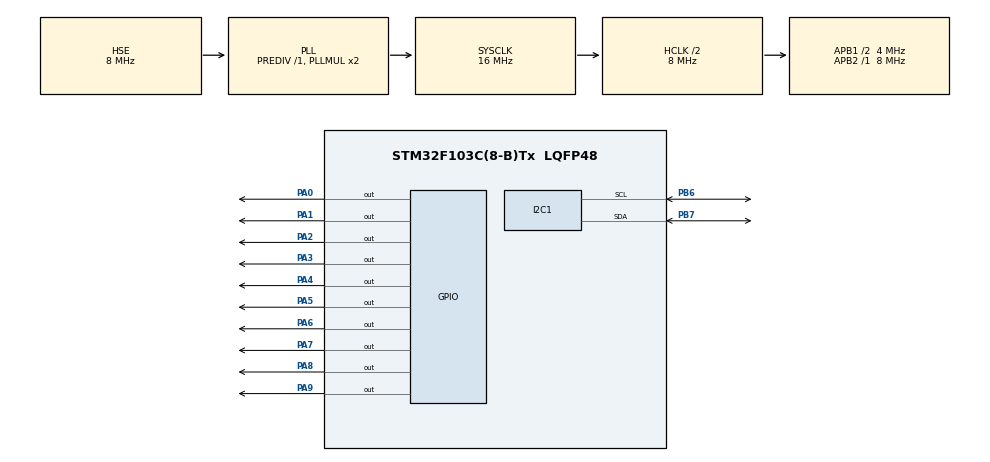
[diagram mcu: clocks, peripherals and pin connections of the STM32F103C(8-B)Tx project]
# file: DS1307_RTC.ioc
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Mcu.Family=STM32F1
Mcu.Name=STM32F103C(8-B)Tx
Mcu.Package=LQFP48
NVIC.PriorityGroup=NVIC_PRIORITYGROUP_4
PA0-WKUP.Signal=GPIO_Output
PA1.Signal=GPIO_Output
PA13.Mode=Serial_Wire
PA13.Signal=SYS_JTMS-SWDIO
PA14.Mode=Serial_Wire
PA14.Signal=SYS_JTCK-SWCLK
PA2.Signal=GPIO_Output
PA3.Signal=GPIO_Output
PA4.Signal=GPIO_Output
PA5.Signal=GPIO_Output
PA6.Signal=GPIO_Output
PA7.Signal=GPIO_Output
PA8.Signal=GPIO_Output
PA9.Signal=GPIO_Output
PB6.Mode=I2C
PB6.Signal=I2C1_SCL
PB7.Mode=I2C
PB7.Signal=I2C1_SDA
PD0-OSC_IN.Mode=HSE-External-Oscillator
PD0-OSC_IN.Signal=RCC_OSC_IN
PD1-OSC_OUT.Mode=HSE-External-Oscillator
PD1-OSC_OUT.Signal=RCC_OSC_OUT
ProjectManager.HeapSize=0x200
ProjectManager.StackSize=0x400
ProjectManager.TargetToolchain=MDK-ARM V5.27
RCC.AHBCLKDivider=RCC_SYSCLK_DIV2
RCC.AHBFreq_Value=8000000
RCC.APB1CLKDivider=RCC_HCLK_DIV2
RCC.APB1Freq_Value=4000000
RCC.APB1TimFreq_Value=8000000
RCC.APB2Freq_Value=8000000
RCC.APB2TimFreq_Value=8000000
RCC.HCLKFreq_Value=8000000
RCC.PLLSourceVirtual=RCC_PLLSOURCE_HSE
RCC.SYSCLKFreq_VALUE=16000000
RCC.SYSCLKSource=RCC_SYSCLKSOURCE_PLLCLK
RCC.USBFreq_Value=16000000
board=custom

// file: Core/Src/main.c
/* USER CODE BEGIN Header */
/**
  ******************************************************************************
  * @file           : main.c
  * @brief          : Main program body
  ******************************************************************************
  * @attention
  *
  * <h2><center>&copy; Copyright (c) 2024 STMicroelectronics.
  * All rights reserved.</center></h2>
  *
  * This software component is licensed by ST under BSD 3-Clause license,
  * the "License"; You may not use this file except in compliance with the
  * License. You may obtain a copy of the License at:
  *                        opensource.org/licenses/BSD-3-Clause
  *
  ******************************************************************************
  */
/* USER CODE END Header */
#include "main.h"

/* USER CODE BEGIN Includes */
#include "string.h"
#include "stdio.h"

/* USER CODE END Includes */

/* USER CODE BEGIN PD */
#define RTC_ADDR 0x68 << 1

// Ðinh nghia các chân GPIO cho LED 7 thanh
#define SEG_A GPIO_PIN_0
#define SEG_B GPIO_PIN_1
#define SEG_C GPIO_PIN_2
#define SEG_D GPIO_PIN_3
#define SEG_E GPIO_PIN_4
#define SEG_F GPIO_PIN_5
#define SEG_G GPIO_PIN_6

#define SEG_PORT GPIOA

#define LED1_PIN GPIO_PIN_8
#define LED2_PIN GPIO_PIN_9
#define LED_PORT GPIOA

/* USER CODE END PD */

I2C_HandleTypeDef hi2c1;

void SystemClock_Config(void);
static void MX_GPIO_Init(void);
static void MX_I2C1_Init(void);

/* USER CODE BEGIN 0 */

// Bang ma hoa so tu 0-9 (a,b,c,d,e,f,g)
const uint8_t SEGMENT_NUMBERS[10] = {
    0xC0, // 0: a,b,c,d,e,f
    0xF9, // 1: b,c
    0xA4, // 2: a,b,d,e,g
    0xB0, // 3: a,b,c,d,g
    0x99, // 4: b,c,f,g
    0x92, // 5: a,c,d,f,g
    0x82, // 6: a,c,d,e,f,g
    0xF8, // 7: a,b,c
    0x80, // 8: a,b,c,d,e,f,g
    0x90  // 9: a,b,c,d,f,g
};

// Hàm hien thi so trên LED 7 thanh
void displayNumber(uint8_t number, GPIO_TypeDef *port, uint16_t pin) {
    // Chan LED (bat Common Anode)
    HAL_GPIO_WritePin(LED_PORT, LED1_PIN | LED2_PIN, GPIO_PIN_SET);
    HAL_GPIO_WritePin(LED_PORT, pin, GPIO_PIN_RESET);

    // Hien thi so
    uint8_t segments = SEGMENT_NUMBERS[number];
    for (int i = 0; i < 8; i++) {
        HAL_GPIO_WritePin(SEG_PORT, (SEG_A << i), (segments & (1 << i)) ? GPIO_PIN_SET : GPIO_PIN_RESET);
    }
}

//Tao mot struct de luu cac gia tri thoi gian
typedef struct{
	uint8_t second;
	uint8_t minute;
	uint8_t hour;
	uint8_t day;
	uint8_t date;
	uint8_t month;
	uint8_t year;
} DateTime;

uint8_t Decimal2BCD(uint8_t num){
	return (num/10)<<4 | (num%10);
}

uint8_t BCD2Decimal(uint8_t num){
	return (num>>4)*10 + (num&0x0F);
}

void RTC_WriteTime(DateTime *dt){
	uint8_t buf[8];
	buf[0] = 0;
	buf[1] = Decimal2BCD(dt->second);
	buf[2] = Decimal2BCD(dt->minute);
	buf[3] = Decimal2BCD(dt->hour);
	buf[4] = Decimal2BCD(dt->day);
	buf[5] = Decimal2BCD(dt->date);
	buf[6] = Decimal2BCD(dt->month);
	buf[7] = Decimal2BCD(dt->year);

	HAL_I2C_Master_Transmit(&hi2c1, RTC_ADDR, buf, 8, 100);
}

void RTC_ReadTime(DateTime *dt){
	uint8_t buff[7];
	uint8_t addr_reg = 0;
	HAL_I2C_Master_Transmit(&hi2c1, RTC_ADDR, &addr_reg, 1, 100);
	HAL_I2C_Master_Receive(&hi2c1, RTC_ADDR, buff, 7, 100);
	dt->second = BCD2Decimal(buff[0]);
	dt->minute = BCD2Decimal(buff[1]);
	dt->hour = BCD2Decimal(buff[2]);
	dt->day = BCD2Decimal(buff[3]);
	dt->date = BCD2Decimal(buff[4]);
	dt->month = BCD2Decimal(buff[5]);
	dt->year = BCD2Decimal(buff[6]);

}
/* USER CODE END 0 */

int main(void)
{

  /* MCU Configuration--------------------------------------------------------*/

  /* Reset of all peripherals, Initializes the Flash interface and the Systick. */
  HAL_Init();

  /* Configure the system clock */
  SystemClock_Config();

  /* Initialize all configured peripherals */
  MX_GPIO_Init();
  MX_I2C1_Init();
  /* USER CODE BEGIN 2 */

	DateTime datetime;
	/*
	datetime.second = 20;
	datetime.minute = 15;
	datetime.hour = 23;
	datetime.day = 5;
	datetime.date = 26;
	datetime.month = 11;
	datetime.year = 24;
	RTC_WriteTime(&datetime);
	*/
  /* USER CODE END 2 */

  /* Infinite loop */
  /* USER CODE BEGIN WHILE */

  while (1)
  {
		RTC_ReadTime(&datetime);
    /* USER CODE END WHILE */

    /* USER CODE BEGIN 3 */
		// Hien thi so trên LED thu nhat
        displayNumber(datetime.minute / 10, LED_PORT, LED1_PIN);
        HAL_Delay(5);

        // Hien thi so tren LED thu hai
        displayNumber(datetime.minute % 10, LED_PORT, LED2_PIN);
        HAL_Delay(5);

  }
  /* USER CODE END 3 */
}

void SystemClock_Config(void)
{
  RCC_OscInitTypeDef RCC_OscInitStruct = {0};
  RCC_ClkInitTypeDef RCC_ClkInitStruct = {0};

  /** Initializes the RCC Oscillators according to the specified parameters
  * in the RCC_OscInitTypeDef structure.
  */
  RCC_OscInitStruct.OscillatorType = RCC_OSCILLATORTYPE_HSE;
  RCC_OscInitStruct.HSEState = RCC_HSE_ON;
  RCC_OscInitStruct.HSEPredivValue = RCC_HSE_PREDIV_DIV1;
  RCC_OscInitStruct.HSIState = RCC_HSI_ON;
  RCC_OscInitStruct.PLL.PLLState = RCC_PLL_ON;
  RCC_OscInitStruct.PLL.PLLSource = RCC_PLLSOURCE_HSE;
  RCC_OscInitStruct.PLL.PLLMUL = RCC_PLL_MUL2;
  if (HAL_RCC_OscConfig(&RCC_OscInitStruct) != HAL_OK)
  {
    Error_Handler();
  }
  /** Initializes the CPU, AHB and APB buses clocks
  */
  RCC_ClkInitStruct.ClockType = RCC_CLOCKTYPE_HCLK|RCC_CLOCKTYPE_SYSCLK
                              |RCC_CLOCKTYPE_PCLK1|RCC_CLOCKTYPE_PCLK2;
  RCC_ClkInitStruct.SYSCLKSource = RCC_SYSCLKSOURCE_PLLCLK;
  RCC_ClkInitStruct.AHBCLKDivider = RCC_SYSCLK_DIV2;
  RCC_ClkInitStruct.APB1CLKDivider = RCC_HCLK_DIV2;
  RCC_ClkInitStruct.APB2CLKDivider = RCC_HCLK_DIV1;

  if (HAL_RCC_ClockConfig(&RCC_ClkInitStruct, FLASH_LATENCY_0) != HAL_OK)
  {
    Error_Handler();
  }
}

static void MX_I2C1_Init(void)
{

  hi2c1.Instance = I2C1;
  hi2c1.Init.ClockSpeed = 100000;
  hi2c1.Init.DutyCycle = I2C_DUTYCYCLE_2;
  hi2c1.Init.OwnAddress1 = 0;
  hi2c1.Init.AddressingMode = I2C_ADDRESSINGMODE_7BIT;
  hi2c1.Init.DualAddressMode = I2C_DUALADDRESS_DISABLE;
  hi2c1.Init.OwnAddress2 = 0;
  hi2c1.Init.GeneralCallMode = I2C_GENERALCALL_DISABLE;
  hi2c1.Init.NoStretchMode = I2C_NOSTRETCH_DISABLE;
  if (HAL_I2C_Init(&hi2c1) != HAL_OK)
  {
    Error_Handler();
  }

}

static void MX_GPIO_Init(void)
{
  GPIO_InitTypeDef GPIO_InitStruct = {0};

  /* GPIO Ports Clock Enable */
  __HAL_RCC_GPIOD_CLK_ENABLE();
  __HAL_RCC_GPIOA_CLK_ENABLE();
  __HAL_RCC_GPIOB_CLK_ENABLE();

  /*Configure GPIO pin Output Level */
  HAL_GPIO_WritePin(GPIOA, GPIO_PIN_0|GPIO_PIN_1|GPIO_PIN_2|GPIO_PIN_3
                          |GPIO_PIN_4|GPIO_PIN_5|GPIO_PIN_6|GPIO_PIN_7
                          |GPIO_PIN_8|GPIO_PIN_9, GPIO_PIN_RESET);

  /*Configure GPIO pins : PA0 PA1 PA2 PA3
                           PA4 PA5 PA6 PA7
                           PA8 PA9 */
  GPIO_InitStruct.Pin = GPIO_PIN_0|GPIO_PIN_1|GPIO_PIN_2|GPIO_PIN_3
                          |GPIO_PIN_4|GPIO_PIN_5|GPIO_PIN_6|GPIO_PIN_7
                          |GPIO_PIN_8|GPIO_PIN_9;
  GPIO_InitStruct.Mode = GPIO_MODE_OUTPUT_PP;
  GPIO_InitStruct.Pull = GPIO_NOPULL;
  GPIO_InitStruct.Speed = GPIO_SPEED_FREQ_LOW;
  HAL_GPIO_Init(GPIOA, &GPIO_InitStruct);

}

void Error_Handler(void)
{
}

/************************ (C) COPYRIGHT STMicroelectronics *****END OF FILE****/
